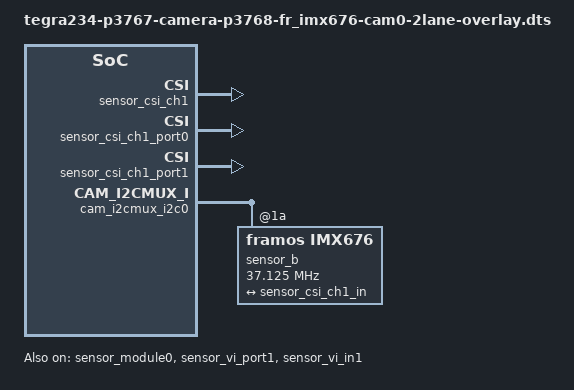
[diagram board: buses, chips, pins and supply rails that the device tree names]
// SPDX-License-Identifier: GPL-2.0
/*
 * Copyright (c) 2024 Framos. All rights reserved.
 *
 * tegra234-p3767-camera-p3768-fr_imx676-cam0-2lane-overlay.dts - IMX676 sensor device tree
 */

/dts-v1/;
/plugin/;

#include <dt-bindings/clock/tegra234-clock.h>
#include <dt-bindings/gpio/tegra234-gpio.h>
#include <dt-bindings/tegra234-p3767-0000-common.h>


/ {
	overlay-name = "Framos IMX676-CAM0-2Lane";
	jetson-header-name = "Jetson 24pin CSI Connector";
	compatible = JETSON_COMPATIBLE_P3768;

	fragment@0 {
		target = <&sensor_module0>;
		__overlay__ {
			status = "okay";
			badge = "imx676_front_framos";
			drivernode0 {
				status = "okay";
				/* Declare PCL support driver (classically known as guid) */
				devname = "imx676 10-001a";
				/* Declare the device-tree hierarchy to driver instance */
				sysfs-device-tree = "/sys/firmware/devicetree/base/bus@0/cam_i2cmux/i2c@0/imx676_b@1a";
			};
		};
	};

	fragment@1 {
		target = <&sensor_vi_port1>;
		__overlay__ {
			status = "okay";
		};
	};

	fragment@2 {
		target = <&sensor_vi_in1>;
		__overlay__ {
			status = "okay";
			bus-width = <2>;
		};
	};

	fragment@3 {
		target = <&sensor_csi_ch1>;
		__overlay__ {
			status = "okay";
			ports {
				status = "okay";
			};
		};
	};

	fragment@4 {
		target = <&sensor_csi_ch1_port0>;
		__overlay__ {
			status = "okay";
		};
	};

	fragment@5 {
		target = <&sensor_csi_ch1_in>;
		__overlay__ {
			status = "okay";
			bus-width = <2>;
			remote-endpoint = <&sensor_out_b>;
		};
	};

	fragment@6 {
		target = <&sensor_csi_ch1_port1>;
		__overlay__ {
			status = "okay";
		};
	};

	fragment@7 {
		target = <&sensor_csi_ch1_out>;
		__overlay__ {
			status = "okay";
		};
	};

	fragment@8 {
		target = <&cam_i2cmux_i2c0>;
		__overlay__ {
			sensor_b: imx676_b@1a {
				compatible = "framos,imx676";
				reg = <0x1a>;

				/* Define any required hw resources needed by driver */
				/* ie. clocks, io pins, power sources */
				clocks = <&bpmp TEGRA234_CLK_EXTPERIPH1>, <&bpmp TEGRA234_CLK_EXTPERIPH1>;
				clock-names = "extperiph1", "pllp_grtba";
				mclk = "extperiph1";
				clock-frequency = <37125000>;

				devnode = "video0";

				physical_w = "15.00";
				physical_h = "12.50";

				sensor_model ="imx676";

				/* Defines number of frames to be dropped by driver internally after applying */
				/* sensor crop settings. Some sensors send corrupt frames after applying */
				/* crop co-ordinates */
				post_crop_frame_drop = "0";

				/* Convert Gain to unit of dB (decibel) befor passing to kernel driver */
				use_decibel_gain = "true";

				/* if true, delay gain setting by one frame to be in sync with exposure */
				delayed_gain = "false";

				/* enable CID_SENSOR_MODE_ID for sensor modes selection */
				use_sensor_mode_id = "false";

				mode0 {
					mclk_khz = "37125";
					num_lanes = "2";
					tegra_sinterface = "serial_b";
					vc_id = "0";
					phy_mode = "DPHY";
					discontinuous_clk = "no";
					dpcm_enable = "false";
					cil_settletime = "0";
					lane_polarity = "6";
					active_w = "3552";
					active_h = "3556";

					dynamic_pixel_bit_depth = "10";
					csi_pixel_bit_depth = "10";
					mode_type = "bayer";
					pixel_phase = "rggb";

					readout_orientation = "0";
					line_length = "4019";
					inherent_gain = "1";
					pix_clk_hz = "475200000";
					serdes_pix_clk_hz = "12000000000"; /* GMSL predefine */

					gain_factor = "10";
					min_gain_val = "0"; /* 0dB */
					max_gain_val = "720"; /* 72dB */
					step_gain_val = "3"; /* 0.3 */
					default_gain = "0";
					min_hdr_ratio = "1";
					max_hdr_ratio = "64";
					framerate_factor = "1000000";
					min_framerate = "1500000"; /* 1.5 */
					max_framerate = "30000000"; /* 30 */
					step_framerate = "1";
					default_framerate= "30000000";
					exposure_factor = "1000000";
					min_exp_time = "27"; /* us */
					max_exp_time = "660000"; /* us */
					step_exp_time = "1";
					default_exp_time = "10000";/* us */
					embedded_metadata_height = "1";
				};
				mode1 {
					mclk_khz = "37125";
					num_lanes = "2";
					tegra_sinterface = "serial_b";
					vc_id = "0";
					phy_mode = "DPHY";
					discontinuous_clk = "no";
					dpcm_enable = "false";
					cil_settletime = "0";
					lane_polarity = "6";
					active_w = "3552";
					active_h = "2160";

					dynamic_pixel_bit_depth = "10";
					csi_pixel_bit_depth = "10";
					mode_type = "bayer";
					pixel_phase = "rggb";

					readout_orientation = "0";
					line_length = "4019";
					inherent_gain = "1";
					pix_clk_hz = "475200000";
					serdes_pix_clk_hz = "12000000000"; /* GMSL predefine */

					gain_factor = "10";
					min_gain_val = "0"; /* 0dB */
					max_gain_val = "720"; /* 72dB */
					step_gain_val = "3"; /* 0.3 */
					default_gain = "0";
					min_hdr_ratio = "1";
					max_hdr_ratio = "64";
					framerate_factor = "1000000";
					min_framerate = "1500000"; /* 1.5 */
					max_framerate = "52000000"; /* 52 */
					step_framerate = "1";
					default_framerate= "52000000";
					exposure_factor = "1000000";
					min_exp_time = "27"; /* us */
					max_exp_time = "660000"; /* us */
					step_exp_time = "1";
					default_exp_time = "10000";/* us */
					embedded_metadata_height = "1";
				};
					mode2 {
					mclk_khz = "37125";
					num_lanes = "2";
					tegra_sinterface = "serial_b";
					vc_id = "0";
					phy_mode = "DPHY";
					discontinuous_clk = "no";
					dpcm_enable = "false";
					cil_settletime = "0";
					lane_polarity = "6";
					active_w = "1776";
					active_h = "1778";

					dynamic_pixel_bit_depth = "12";
					csi_pixel_bit_depth = "12";
					mode_type = "bayer";
					pixel_phase = "rggb";

					readout_orientation = "0";
					line_length = "4019";
					inherent_gain = "1";
					pix_clk_hz = "240000000";
					serdes_pix_clk_hz = "12000000000"; /* GMSL predefine */

					gain_factor = "10";
					min_gain_val = "0"; /* 0dB */
					max_gain_val = "720"; /* 72dB */
					step_gain_val = "3"; /* 0.3 */
					default_gain = "0";
					min_hdr_ratio = "1";
					max_hdr_ratio = "64";
					framerate_factor = "1000000";
					min_framerate = "1500000"; /* 1.5 */
					max_framerate = "30000000"; /* 30 */
					step_framerate = "1";
					default_framerate= "30000000";
					exposure_factor = "1000000";
					min_exp_time = "27"; /* us */
					max_exp_time = "660000"; /* us */
					step_exp_time = "1";
					default_exp_time = "10000";/* us */
					embedded_metadata_height = "1";
				};
				mode3 {
					mclk_khz = "37125";
					num_lanes = "2";
					tegra_sinterface = "serial_b";
					vc_id = "0";
					phy_mode = "DPHY";
					discontinuous_clk = "no";
					dpcm_enable = "false";
					cil_settletime = "0";
					lane_polarity = "6";
					active_w = "1768";
					active_h = "1080";

					dynamic_pixel_bit_depth = "12";
					csi_pixel_bit_depth = "12";
					mode_type = "bayer";
					pixel_phase = "rggb";

					readout_orientation = "0";
					line_length = "4019";
					inherent_gain = "1";
					pix_clk_hz = "240000000";
					serdes_pix_clk_hz = "12000000000"; /* GMSL predefine */

					gain_factor = "10";
					min_gain_val = "0"; /* 0dB */
					max_gain_val = "720"; /* 72dB */
					step_gain_val = "3"; /* 0.3 */
					default_gain = "0";
					min_hdr_ratio = "1";
					max_hdr_ratio = "64";
					framerate_factor = "1000000";
					min_framerate = "1500000"; /* 1.5 */
					max_framerate = "52000000"; /* 52 */
					step_framerate = "1";
					default_framerate = "52000000";
					exposure_factor = "1000000";
					min_exp_time = "27"; /* us */
					max_exp_time = "660000"; /* us */
					step_exp_time = "1";
					default_exp_time = "10000";/* us */
					embedded_metadata_height = "1";
				};
				mode4 {
					mclk_khz = "37125";
					num_lanes = "2";
					tegra_sinterface = "serial_b";
					vc_id="0";
					phy_mode = "DPHY";
					discontinuous_clk = "no";
					dpcm_enable = "false";
					cil_settletime = "0";
					lane_polarity = "6";
					active_w = "3568";
					active_h = "7400";

					dynamic_pixel_bit_depth = "10";
					csi_pixel_bit_depth = "10";
					mode_type = "bayer_wdr_dol";
					pixel_phase = "rggb";

					readout_orientation = "0";
					line_length = "4400";
					inherent_gain = "1";
					pix_clk_hz = "475200000";
					serdes_pix_clk_hz = "475200000"; /* GMSL predefine */

					gain_factor = "10";
					min_gain_val = "0"; /* 0dB */
					max_gain_val = "720"; /* 72dB */
					step_gain_val = "3"; /* 0.3 */
					default_gain = "0";
					min_hdr_ratio = "16";
					max_hdr_ratio = "16";
					framerate_factor = "1000000";
					min_framerate = "1500000"; /* 1.5 */
					max_framerate = "15000000"; /* 60 */
					step_framerate = "1";
					default_framerate= "15000000";
					exposure_factor = "1000000";
					min_exp_time = "541"; /* us */
					max_exp_time = "32478"; /* us */
					step_exp_time = "1";
					default_exp_time = "10000";/* us */
					embedded_metadata_height = "1";

					/* HDR */
					num_of_exposure = "2";
					num_of_lines_offset_0 = "144";
					num_of_ignored_pixels = "16";
					num_of_left_margin_pixels = "8";
					num_of_right_margin_pixels = "8";
				};
				mode5 {
					mclk_khz = "37125";
					num_lanes = "2";
					tegra_sinterface = "serial_b";
					vc_id="0";
					phy_mode = "DPHY";
					discontinuous_clk = "no";
					dpcm_enable = "false";
					cil_settletime = "0";
					lane_polarity = "6";
					active_w = "1792";
					active_h = "3700";

					dynamic_pixel_bit_depth = "12";
					csi_pixel_bit_depth = "12";
					mode_type = "bayer_wdr_dol";
					pixel_phase = "rggb";

					readout_orientation = "0";
					line_length = "4400";
					inherent_gain = "1";
					pix_clk_hz = "475200000";
					serdes_pix_clk_hz = "475200000"; /* GMSL predefine */

					gain_factor = "10";
					min_gain_val = "0"; /* 0dB */
					max_gain_val = "720"; /* 72dB */
					step_gain_val = "3"; /* 0.3 */
					default_gain = "0";
					min_hdr_ratio = "16";
					max_hdr_ratio = "16";
					framerate_factor = "1000000";
					min_framerate = "1500000"; /* 1.5 */
					max_framerate = "30000000"; /* 60 */
					step_framerate = "1";
					default_framerate= "30000000";
					exposure_factor = "1000000";
					min_exp_time = "541"; /* us */
					max_exp_time = "32478"; /* us */
					step_exp_time = "1";
					default_exp_time = "10000";/* us */
					embedded_metadata_height = "1";

					/* HDR */
					num_of_exposure = "2";
					num_of_lines_offset_0 = "70";
					num_of_ignored_pixels = "16";
					num_of_left_margin_pixels = "4";
					num_of_right_margin_pixels = "4";
				};
				ports {
					#address-cells = <1>;
					#size-cells = <0>;
					port@0 {
						reg = <0>;
						sensor_out_b: endpoint {
							vc-id = <0>;
							port-index = <1>;
							bus-width = <2>;
							remote-endpoint = <&sensor_csi_ch1_in>;
						};
					};
				};
			};
		};
	};
};
